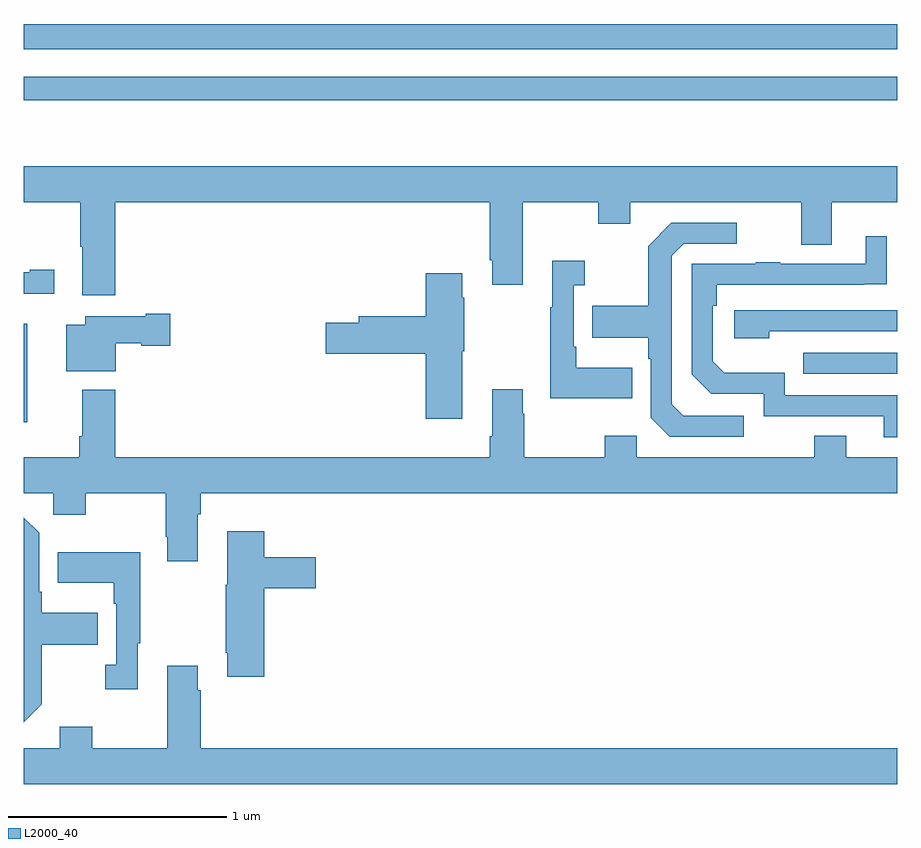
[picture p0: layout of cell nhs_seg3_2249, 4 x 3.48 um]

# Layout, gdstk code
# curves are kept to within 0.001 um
import gdstk
lib = gdstk.Library(unit=1e-6, precision=1e-09)
def R(c, l, rs):  # rectangles x0, y0, x1, y1
    for r in rs: c.add(gdstk.rectangle(r[:2], r[2:], *l))
def P(c, l, *ps):  # polygons
    for p in ps: c.add(gdstk.Polygon(p, *l))
L2000_40 = (2000, 40)

nhs_seg3_2249 = lib.new_cell('nhs_seg3_2249')
R(nhs_seg3_2249, L2000_40, [(227,702.573,227.017,703.024), (230.569,702.795,231,702.891), (227,704.046,231,704.154), (227,704.28,231,704.396)])
P(nhs_seg3_2249, L2000_40, [(227.42,703.58),(229.133,703.58),(229.133,703.315),(229.145,703.315),(229.145,703.203),(229.285,703.203),(229.285,703.58),(229.63,703.58),(229.63,703.481),(229.777,703.481),(229.777,703.58),(230.561,703.58),(230.561,703.386),(230.701,703.386),(230.701,703.58),(231,703.58),(231,703.744),(227,703.744),(227,703.58),(227.26,703.58),(227.26,703.376),(227.267,703.376),(227.267,703.155),(227.42,703.155)],
  [(230.296,702.603),(230.019,702.603),(229.968,702.654),(229.968,703.335),(230.022,703.389),(230.266,703.389),(230.266,703.485),(229.965,703.485),(229.86,703.379),(229.86,703.107),(229.603,703.107),(229.603,702.959),(229.86,702.959),(229.86,702.863),(229.872,702.863),(229.872,702.594),(229.959,702.507),(230.296,702.507)],
  [(231,702.696),(230.484,702.696),(230.484,702.799),(230.207,702.799),(230.154,702.852),(230.154,703.106),(230.174,703.106),(230.174,703.203),(230.951,703.204),(230.951,703.423),(230.855,703.423),(230.855,703.299),(230.465,703.299),(230.465,703.304),(230.353,703.304),(230.353,703.299),(230.058,703.299),(230.058,702.792),(230.148,702.702),(230.388,702.702),(230.388,702.6),(230.939,702.6),(230.939,702.504),(231,702.504)],
  [(229.787,702.823),(229.531,702.823),(229.531,702.919),(229.518,702.919),(229.518,703.199),(229.57,703.199),(229.57,703.312),(229.421,703.312),(229.421,703.099),(229.41,703.099),(229.41,702.683),(229.787,702.683)],
  [(227.14,703.27),(227.027,703.27),(227.027,703.26),(227,703.26),(227,703.16),(227.14,703.16)],
  [(229.009,702.897),(229.017,702.897),(229.017,703.142),(229.009,703.142),(229.009,703.255),(228.842,703.255),(228.842,703.058),(228.533,703.058),(228.533,703.028),(228.384,703.028),(228.384,702.886),(228.842,702.886),(228.842,702.588),(229.009,702.588)],
  [(230.414,702.99),(231,702.99),(231,703.086),(230.253,703.086),(230.253,702.956),(230.414,702.956)],
  [(227.422,702.935),(227.538,702.935),(227.538,702.923),(227.671,702.923),(227.671,703.07),(227.558,703.07),(227.558,703.057),(227.282,703.057),(227.282,703.018),(227.195,703.018),(227.195,702.806),(227.422,702.806)],
  [(227.42,702.721),(227.267,702.721),(227.267,702.508),(227.255,702.508),(227.255,702.412),(227,702.412),(227,702.248),(227.136,702.248),(227.136,702.149),(227.283,702.149),(227.283,702.248),(227.65,702.248),(227.65,702.049),(227.657,702.049),(227.657,701.937),(227.797,701.937),(227.797,702.152),(227.81,702.152),(227.81,702.248),(231,702.248),(231,702.412),(230.767,702.412),(230.767,702.511),(230.62,702.511),(230.62,702.412),(229.806,702.412),(229.806,702.511),(229.66,702.511),(229.66,702.412),(229.293,702.412),(229.293,702.611),(229.285,702.611),(229.285,702.724),(229.145,702.724),(229.145,702.508),(229.133,702.508),(229.133,702.412),(227.42,702.412)],
  [(227.083,701.281),(227.083,701.554),(227.339,701.554),(227.339,701.701),(227.083,701.701),(227.083,701.797),(227.07,701.797),(227.07,702.066),(227,702.136),(227,701.198)],
  [(228.101,701.813),(228.337,701.813),(228.337,701.955),(228.101,701.955),(228.101,702.073),(227.933,702.073),(227.933,701.829),(227.926,701.829),(227.926,701.518),(227.933,701.518),(227.933,701.406),(228.101,701.406)],
  [(227.521,701.561),(227.533,701.561),(227.533,701.977),(227.155,701.977),(227.155,701.837),(227.412,701.837),(227.412,701.741),(227.424,701.741),(227.424,701.462),(227.373,701.462),(227.373,701.349),(227.521,701.349)],
  [(231,701.08),(227.81,701.08),(227.81,701.345),(227.797,701.345),(227.797,701.458),(227.657,701.458),(227.657,701.08),(227.313,701.08),(227.313,701.179),(227.165,701.179),(227.165,701.08),(227,701.08),(227,700.916),(231,700.916)])

lib.write_gds('nhs_seg3_2249.gds')
